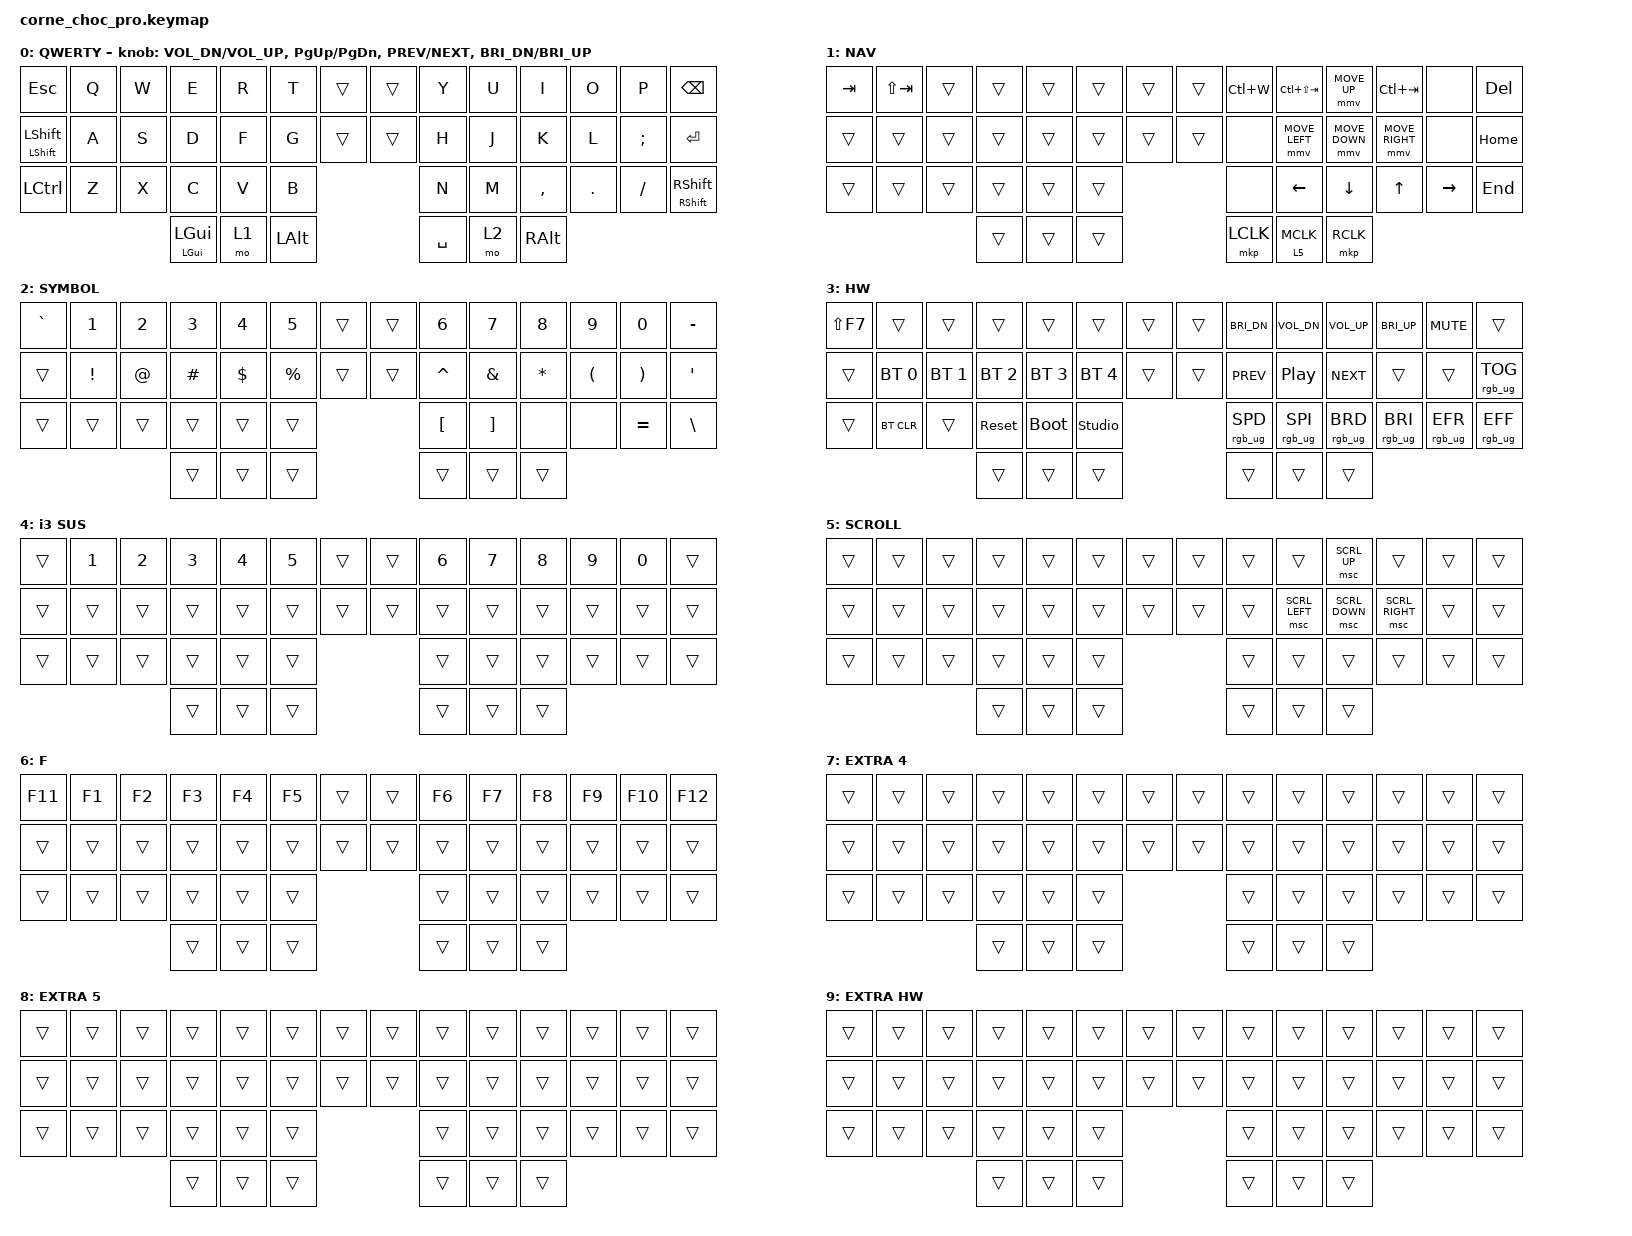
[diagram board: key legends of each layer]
/*
 * Copyright (c) 2020 The ZMK Contributors
 *
 * SPDX-License-Identifier: MIT
 */

#include <behaviors.dtsi>
#include <dt-bindings/zmk/bt.h>
#include <dt-bindings/zmk/keys.h>

// Mouse-key peak speed (default 600). MOVE_UP/DOWN/LEFT/RIGHT ramp from 0 to this
// value over `time-to-max-speed-ms` (set on &mmv in corne_choc_pro.dtsi).
#define ZMK_POINTING_DEFAULT_MOVE_VAL 1200
// Scroll-key speed (default 10). Higher = larger scroll per tick.
#define ZMK_POINTING_DEFAULT_SCRL_VAL 20
#include <dt-bindings/zmk/pointing.h>
#include <dt-bindings/zmk/rgb.h>

/ {
    chosen { zmk,physical-layout = &default_layout; };
};

/ {
    macros {
        // i3_hold: pressed when the i3 thumb is HELD past tapping-term.
        // Holds the real LGUI modifier (so OS sees it for floating-window mouse drag)
        // AND momentarily activates layer 4 (i3 sustained — overrides top row with numbers).
        // Released together when the thumb is released.
        i3_hold: i3_hold {
            compatible = "zmk,behavior-macro-one-param";
            #binding-cells = <1>;
            wait-ms = <0>;
            tap-ms = <0>;
            bindings
                = <&macro_param_1to1>
                , <&macro_press &kp MACRO_PLACEHOLDER>
                , <&macro_press &mo 4>
                , <&macro_pause_for_release>
                , <&macro_release &mo 4>
                , <&macro_param_1to1>
                , <&macro_release &kp MACRO_PLACEHOLDER>
                ;
        };
    };

    behaviors {
        longPress: longPress {
            compatible = "zmk,behavior-hold-tap";
            label = "LONGPRESS";
            bindings = <&kp>, <&kp>;

            #binding-cells = <2>;
            tapping-term-ms = <350>;
        };

        // i3 thumb behavior (replaces &kp LGUI on the left thumb).
        //   HOLD  -> real LGUI held + sustained layer (i3_hold macro)
        //   TAP   -> sticky LGUI (next base-layer keypress fires LG(...))
        // hold-preferred flavor: any other key pressed during the thumb hold
        // fires HOLD immediately (before the other key is dispatched), so the
        // i3 sustained layer is active when the chord key arrives. quick-tap-ms
        // prevents typing-style rolls from accidentally firing HOLD.
        i3: i3 {
            compatible = "zmk,behavior-hold-tap";
            label = "I3_THUMB";
            flavor = "hold-preferred";
            tapping-term-ms = <200>;
            quick-tap-ms = <175>;
            bindings = <&i3_hold>, <&sk>;
            #binding-cells = <2>;
        };

        // Sticky-or-hold: tap = sticky modifier (one-shot), hold = held modifier.
        //   &skh LSHFT LSHFT  -> tap for one-shot shift, hold for normal shift.
        skh: skh {
            compatible = "zmk,behavior-hold-tap";
            label = "STICKY_OR_HOLD";
            flavor = "balanced";
            tapping-term-ms = <200>;
            bindings = <&kp>, <&sk>;
            #binding-cells = <2>;
        };

        // ThinkPad-style middle button: tap = middle click, hold = scroll mode.
        // While held, the mmv keys (I/J/K/L in NAV layer) produce scroll instead of mouse move.
        mclk_scroll: mclk_scroll {
            compatible = "zmk,behavior-hold-tap";
            label = "MCLK_SCROLL";
            flavor = "tap-preferred";
            tapping-term-ms = <200>;
            bindings = <&mo>, <&mkp>;
            #binding-cells = <2>;
        };
    };

    conditional_layers {
        compatible = "zmk,conditional-layers";

        // Holding LWR (left thumb) + RSE (right thumb) together activates
        // HARDWARE (idx 3). Release either thumb to deactivate. No dedicated
        // toggle key needed.
        tri_hardware {
            if-layers = <1 2>;
            then-layer = <3>;
        };
    };

    combos {
        compatible = "zmk,combos";

        // Press LWR thumb + LALT thumb together (positions 41 + 42 — the two
        // adjacent left thumbs) to momentarily activate the F-layer (layer 6).
        // Hold both = F-layer active; release either = back to base.
        combo_flayer {
            timeout-ms = <40>;
            key-positions = <41 42>;
            bindings = <&mo 6>;
            layers = <0>;
        };

        // Tap both shifts together to activate Caps Word: next word is
        // shifted (auto-deactivates on space / enter / 5 sec idle).
        combo_caps_word {
            timeout-ms = <200>;
            key-positions = <14 39>;
            bindings = <&caps_word>;
            layers = <0>;
        };

        // ESC + Q → TAB (QWERTY layer only).
        combo_esc_q_tab {
            timeout-ms = <200>;
            key-positions = <0 1>;
            bindings = <&kp TAB>;
            layers = <0>;
        };
    };

    keymap {
        compatible = "zmk,keymap";

        default_layer {
            display-name = "QWERTY";

            // ---------------------------------------------------------------------------------
            // |  ESC |  Q  |  W  |  E  |  R  |  T  |  MUTE |  PP   |  Y  |  U   |  I  |  O  |  P  | BSPC |
            // | SHFT |  A  |  S  |  D  |  F  |  G  |  LALT |  RALT |  H  |  J   |  K  |  L  |  ;  |  '   |
            // | CTRL |  Z  |  X  |  C  |  V  |  B  |               |  N  |  M   |  ,  |  .  |  /  | RSFT |
            //                    | GUI | LWR | ALT |               | SPC | RSE  | ALT |
            // TAB on NAV pos 0   |   DEL on NAV pos 13   |   LS(F7) on HW pos 0
            // Layer triggers symmetric on middle thumbs: LWR (left middle) / RSE (right middle).

            bindings = <
&kp ESCAPE         &kp Q  &kp W  &kp E   &kp R          &kp T          &trans  &trans  &kp Y      &kp U  &kp I      &kp O    &kp P     &kp BSPC
&skh LSHFT LSHFT   &kp A  &kp S  &kp D   &kp F          &kp G          &trans  &trans  &kp H      &kp J  &kp K      &kp L    &kp SEMI  &kp ENTER
&kp LEFT_CONTROL   &kp Z  &kp X  &kp C   &kp V          &kp B                          &kp N      &kp M  &kp COMMA  &kp DOT  &kp FSLH  &skh RSHFT RSHFT
                                 &i3 LGUI LGUI  &mo 1   &kp LEFT_ALT                   &kp SPACE  &mo 2  &kp RALT
            >;

            sensor-bindings = <&inc_dec_kp C_VOL_DN C_VOL_UP &inc_dec_kp PG_UP PG_DN &inc_dec_kp C_PREV C_NEXT &inc_dec_kp C_BRI_DN C_BRI_UP>;
        };

        lower_layer {
            display-name = "NAV";

            // Mouse-T inverted on right hand:  I = mmv↑   J / K / L = mmv ← ↓ →
            // Vim row of arrows on right bottom:  M / , / . / / = ← ↓ ↑ →
            // Right outer column: DEL / HOME / END
            // Right thumbs: LCLK / MCLK / RCLK
            // Top-left  = TAB (replaces base ESC while NAV held)
            // Top-right = DEL (replaces base BSPC while NAV held)
            // U = prev tab (C-S-Tab)   O = next tab (C-Tab)
            // HARDWARE layer is reached by holding LWR + RSE thumbs together
            // (conditional_layers), so no toggle key needed here.
            // Mouse acceleration tuned via &mmv override in corne_choc_pro.dtsi.
            //
            // ---------------------------------------------------------------------------------------
            // | TAB |  _  |  _  |  _  |  _  |  _  |       |       |  _  | ptab| mmv↑ | ntab|  _   |  DEL  |
            // |  _  |  _  |  _  |  _  |  _  |  _  |       |       |  _  | mmv←| mmv↓ | mmv→|  _   | scrl↑ |
            // |  _  |  _  |  _  |  _  |  _  |  _  |               |  _  |  ←  |  ↓   |  ↑  |  →   | scrl↓ |
            //                   |  _  |  _  | LWR |               | LCLK| MCLK| RCLK |

            bindings = <
&kp TAB  &kp LS(TAB)  &trans  &trans  &trans  &trans  &trans  &trans  &kp LC(W)     &kp LC(LS(TAB))  &mmv MOVE_UP    &kp LC(TAB)      &none     &kp DELETE
&trans   &trans  &trans  &trans  &trans  &trans  &trans  &trans  &none     &mmv MOVE_LEFT  &mmv MOVE_DOWN  &mmv MOVE_RIGHT  &none     &kp HOME
&trans   &trans  &trans  &trans  &trans  &trans                  &none     &kp LEFT        &kp DOWN        &kp UP           &kp RIGHT  &kp END
                         &trans  &trans  &trans                  &mkp LCLK  &mclk_scroll 5 MCLK  &mkp RCLK
            >;
        };

        raise_layer {
            display-name = "SYMBOL";

            // -----------------------------------------------------------------------------------------
            // |  TAB |  !  |  @  |  #  |  $  |  %  | LCTRL | RCTRL |  ^  |  &  |  *  |  (  |  )  | BSPC |
            // | CTRL |     |     |     |     |     |  LALT | RALT  |  -  |  =  |  [  |  ]  |  \  |  `   |
            // | SHFT |     |     |     |     |     |               |  _  |  +  |  {  |  }  | "|" |  ~   |
            //                    | GUI |     | SPC |               | ENT |     | ALT |

            bindings = <
&kp GRAVE  &kp NUMBER_1  &kp NUMBER_2  &kp N3        &kp NUMBER_4  &kp N5       &trans  &trans  &kp NUMBER_6      &kp N7             &kp N8        &kp N9                &kp N0                 &kp MINUS
&trans  &kp EXCL      &kp AT_SIGN   &kp HASH      &kp DOLLAR    &kp PERCENT  &trans  &trans  &kp CARET         &kp AMPERSAND      &kp ASTERISK  &kp LEFT_PARENTHESIS  &kp RIGHT_PARENTHESIS  &kp SINGLE_QUOTE
&trans     &trans        &trans        &trans        &trans        &trans                       &kp LEFT_BRACKET  &kp RIGHT_BRACKET  &none         &none                 &kp EQUAL              &kp BACKSLASH
                                       &trans        &trans        &trans                       &trans            &trans             &trans
            >;
        };

        layer_hardware {
            display-name = "HW";

            // Activated by holding LWR + RSE thumbs together (conditional_layers).
            // Left hand  = Bluetooth + system controls (rare, deliberate).
            // Right hand = Media + RGB controls (more frequent).
            //
            // ---------------------------------------------------------------------------------------------
            // | S+F7 |  _   |  _   |  _   |  _   |  _    |       |       | Br-   | Vol- | Vol+ | Br+  | Mute | _   |
            // |  _   | BT0  | BT1  | BT2  | BT3  | BT4   |       |       | <<    |  PP  |  >>  |  _   |  _   | TOG |
            // |  _   | BTcr |  _   | rst  | boot | unlk  |               | SPD-  | SPD+ | BRI- | BRI+ | EFR  | EFF |
            //                      |  _   |  _   |  _    |               |  _    |  _   |  _   |

            bindings = <
&kp LS(F7)  &trans        &trans        &trans        &trans        &trans          &trans  &trans  &kp C_BRI_DN     &kp C_VOL_DN     &kp C_VOL_UP     &kp C_BRI_UP     &kp C_MUTE       &trans
&trans      &bt BT_SEL 0  &bt BT_SEL 1  &bt BT_SEL 2  &bt BT_SEL 3  &bt BT_SEL 4    &trans  &trans  &kp C_PREV       &kp C_PP         &kp C_NEXT       &trans           &trans           &rgb_ug RGB_TOG
&trans      &bt BT_CLR    &trans        &sys_reset    &bootloader   &studio_unlock                  &rgb_ug RGB_SPD  &rgb_ug RGB_SPI  &rgb_ug RGB_BRD  &rgb_ug RGB_BRI  &rgb_ug RGB_EFR  &rgb_ug RGB_EFF
                                        &trans        &trans        &trans                          &trans           &trans           &trans
            >;
        };

        i3_sustained {
            display-name = "i3 SUS";

            // Active only while the left-thumb (i3) is HELD.
            // Real LGUI is held in parallel via the i3_hold macro, so:
            //   - Top row letter positions (Q..P) are remapped to numbers 1..0
            //     => press Q while held = LGUI+1 = workspace 1.
            //   - Everything else is &trans, falling through to the base layer.
            //     With LGUI held externally, base-layer keys produce the right
            //     i3 commands automatically (HJKL focus, Return terminal,
            //     Shift+1..0 move container, Ctrl+R restart, etc).
            //   - Mouse drag floating windows works because LGUI is genuinely held.
            //
            // ---------------------------------------------------------------------------------
            // |     |  1  |  2  |  3  |  4  |  5  |       |       |  6  |  7  |  8  |  9  |  0  |     |
            // |     |     |     |     |     |     |       |       |     |     |     |     |     |     |
            // |     |     |     |     |     |     |               |     |     |     |     |     |     |
            //                   |     |     |     |               |     |     |     |

            bindings = <
&trans  &kp N1  &kp N2  &kp N3  &kp N4  &kp N5  &trans  &trans  &kp N6  &kp N7  &kp N8  &kp N9  &kp N0  &trans
&trans  &trans  &trans  &trans  &trans  &trans  &trans  &trans  &trans  &trans  &trans  &trans  &trans  &trans
&trans  &trans  &trans  &trans  &trans  &trans                  &trans  &trans  &trans  &trans  &trans  &trans
                        &trans  &trans  &trans                  &trans  &trans  &trans
            >;
        };

        scroll_layer {
            display-name = "SCROLL";

            // Active while MCLK is held (ThinkPad-style scroll mode).
            // Overrides the mmv keys (I/J/K/L) with scroll equivalents.
            // All other positions transparent, falling through to NAV layer.
            //
            // ---------------------------------------------------------------------------------
            // |  _  |  _  |  _  |  _  |  _  |  _  |       |       |  _  |  _  | scrl↑ |  _  |  _  |  _  |
            // |  _  |  _  |  _  |  _  |  _  |  _  |       |       |  _  | scrl←| scrl↓ | scrl→|  _  |  _  |
            // |  _  |  _  |  _  |  _  |  _  |  _  |               |  _  |  _  |  _  |  _  |  _  |  _  |
            //                   |  _  |  _  |  _  |               |  _  |  _  |  _  |

            bindings = <
&trans  &trans  &trans  &trans  &trans  &trans  &trans  &trans  &trans  &trans           &msc SCRL_UP    &trans            &trans  &trans
&trans  &trans  &trans  &trans  &trans  &trans  &trans  &trans  &trans  &msc SCRL_LEFT   &msc SCRL_DOWN  &msc SCRL_RIGHT   &trans  &trans
&trans  &trans  &trans  &trans  &trans  &trans                  &trans  &trans           &trans          &trans            &trans  &trans
                        &trans  &trans  &trans                  &trans  &trans           &trans
            >;
        };

        f_layer {
            display-name = "F";

            // Activated by combo of LALT + LWR thumbs (positions 41 + 42).
            // F-keys span the top row, mirroring number positions:
            //   F11 - F1 F2 F3 F4 F5  -  -  F6 F7 F8 F9 F10 - F12
            // (F11 lives on pos 0 / F12 on pos 13 — the outer top corners.)
            //
            // ----------------------------------------------------------------------
            // | F11 | F1 | F2 | F3 | F4 | F5 |       |       | F6 | F7 | F8 | F9 | F10 | F12 |
            // |  _  |  _ |  _ |  _ |  _ |  _ |       |       |  _ |  _ |  _ |  _ |  _  |  _  |
            // |  _  |  _ |  _ |  _ |  _ |  _ |               |  _ |  _ |  _ |  _ |  _  |  _  |
            //                  |  _ |  _ |  _ |               |  _ |  _ |  _ |

            bindings = <
&kp F11  &kp F1  &kp F2  &kp F3  &kp F4  &kp F5  &trans  &trans  &kp F6  &kp F7  &kp F8  &kp F9  &kp F10  &kp F12
&trans   &trans  &trans  &trans  &trans  &trans  &trans  &trans  &trans  &trans  &trans  &trans  &trans   &trans
&trans   &trans  &trans  &trans  &trans  &trans                  &trans  &trans  &trans  &trans  &trans   &trans
                         &trans  &trans  &trans                  &trans  &trans  &trans
            >;
        };

        extra_layer_4 {
            display-name = "EXTRA 4";
            bindings = <
&trans  &trans  &trans  &trans  &trans  &trans  &trans  &trans  &trans  &trans  &trans  &trans  &trans  &trans
&trans  &trans  &trans  &trans  &trans  &trans  &trans  &trans  &trans  &trans  &trans  &trans  &trans  &trans
&trans  &trans  &trans  &trans  &trans  &trans                  &trans  &trans  &trans  &trans  &trans  &trans
                        &trans  &trans  &trans                  &trans  &trans  &trans
            >;
        };

        extra_layer_5 {
            display-name = "EXTRA 5";
            bindings = <
&trans  &trans  &trans  &trans  &trans  &trans  &trans  &trans  &trans  &trans  &trans  &trans  &trans  &trans
&trans  &trans  &trans  &trans  &trans  &trans  &trans  &trans  &trans  &trans  &trans  &trans  &trans  &trans
&trans  &trans  &trans  &trans  &trans  &trans                  &trans  &trans  &trans  &trans  &trans  &trans
                        &trans  &trans  &trans                  &trans  &trans  &trans
            >;
        };

        extra_hardware {
            display-name = "EXTRA HW";
            bindings = <
&trans  &trans  &trans  &trans  &trans  &trans  &trans  &trans  &trans  &trans  &trans  &trans  &trans  &trans
&trans  &trans  &trans  &trans  &trans  &trans  &trans  &trans  &trans  &trans  &trans  &trans  &trans  &trans
&trans  &trans  &trans  &trans  &trans  &trans                  &trans  &trans  &trans  &trans  &trans  &trans
                        &trans  &trans  &trans                  &trans  &trans  &trans
            >;
        };
    };
};
